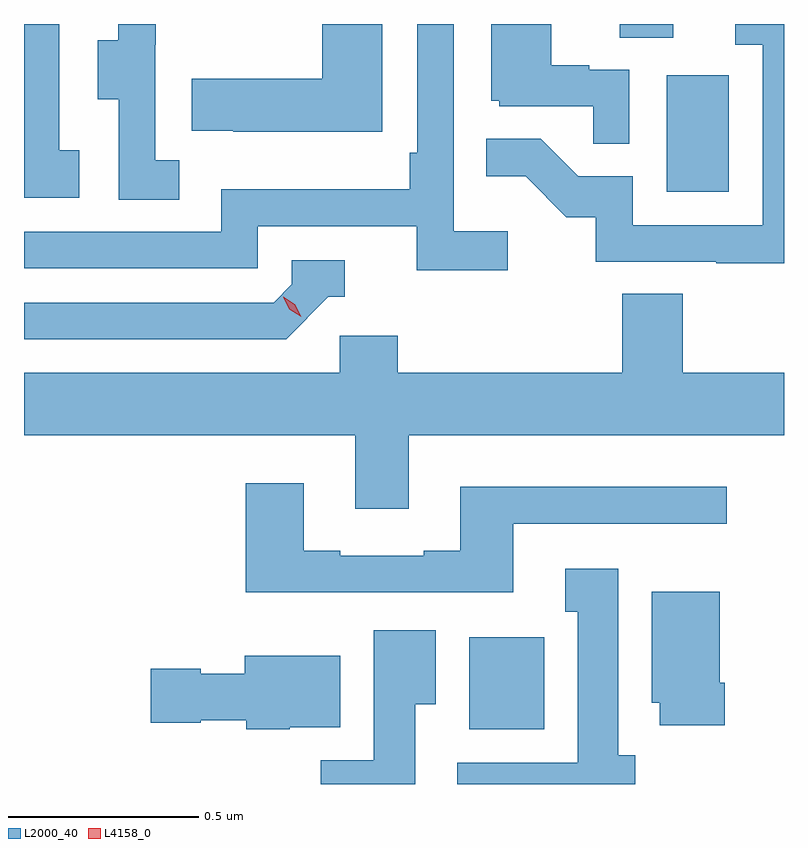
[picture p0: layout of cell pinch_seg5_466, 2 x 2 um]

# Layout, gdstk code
import gdstk
lib = gdstk.Library(unit=1e-6, precision=1e-09)
def R(c, l, rs):  # rectangles x0, y0, x1, y1
    for r in rs: c.add(gdstk.rectangle(r[:2], r[2:], *l))
def P(c, l, *ps):  # polygons
    for p in ps: c.add(gdstk.Polygon(p, *l))
L2000_40 = (2000, 40)
L4158_0 = (4158, 0)

pinch_seg5_466 = lib.new_cell('pinch_seg5_466')
R(pinch_seg5_466, L2000_40, [(930.521,854.654,930.718,854.896), (931.04,856.068,931.204,856.375), (930.917,856.474,931.057,856.51)])
P(pinch_seg5_466, L2000_40, [(929.494,856.178),(929.442,856.178),(929.442,856.51),(929.349,856.51),(929.349,856.053),(929.494,856.053)],
  [(930.942,856.389),(930.836,856.389),(930.836,856.402),(930.736,856.402),(930.736,856.51),(930.578,856.51),(930.578,856.308),(930.6,856.308),(930.6,856.293),(930.847,856.293),(930.847,856.195),(930.942,856.195)],
  [(929.758,856.151),(929.694,856.151),(929.694,856.455),(929.696,856.455),(929.696,856.51),(929.597,856.51),(929.597,856.467),(929.543,856.467),(929.543,856.312),(929.598,856.312),(929.598,856.048),(929.758,856.048)],
  [(930.292,856.51),(930.134,856.51),(930.134,856.366),(929.791,856.366),(929.791,856.229),(929.899,856.229),(929.899,856.226),(930.292,856.226)],
  [(930.622,855.964),(930.48,855.964),(930.48,856.51),(930.384,856.51),(930.384,856.171),(930.364,856.171),(930.364,856.075),(929.868,856.075),(929.868,855.963),(929.349,855.963),(929.349,855.867),(929.964,855.867),(929.964,855.978),(930.383,855.978),(930.383,855.862),(930.622,855.862)],
  [(931.349,856.51),(931.221,856.51),(931.221,856.455),(931.293,856.455),(931.293,855.981),(930.951,855.981),(930.951,856.11),(930.807,856.11),(930.709,856.208),(930.565,856.208),(930.565,856.109),(930.669,856.109),(930.776,856.002),(930.853,856.002),(930.853,855.885),(931.171,855.885),(931.171,855.88),(931.349,855.88)],
  [(930.15,855.792),(930.193,855.792),(930.193,855.888),(930.054,855.888),(930.054,855.825),(930.006,855.777),(929.349,855.777),(929.349,855.681),(930.039,855.681)],
  [(930.361,855.428),(931.349,855.428),(931.349,855.592),(931.083,855.592),(931.083,855.8),(930.923,855.8),(930.923,855.592),(930.332,855.592),(930.332,855.69),(930.18,855.69),(930.18,855.592),(929.349,855.592),(929.349,855.428),(930.221,855.428),(930.221,855.234),(930.361,855.234)],
  [(930.173,855.015),(930.637,855.015),(930.637,855.195),(931.198,855.195),(931.198,855.292),(930.497,855.292),(930.497,855.124),(930.401,855.124),(930.401,855.111),(930.181,855.111),(930.181,855.124),(930.085,855.124),(930.085,855.301),(929.933,855.301),(929.933,855.014),(930.173,855.014)],
  [(930.958,854.586),(930.913,854.586),(930.913,855.076),(930.773,855.076),(930.773,854.963),(930.806,854.963),(930.806,854.566),(930.489,854.566),(930.489,854.51),(930.958,854.51)],
  [(931.193,854.776),(931.18,854.776),(931.18,855.016),(931.001,855.016),(931.001,854.724),(931.022,854.724),(931.022,854.664),(931.193,854.664)],
  [(930.379,854.72),(930.433,854.72),(930.433,854.914),(930.269,854.914),(930.269,854.572),(930.13,854.572),(930.13,854.51),(930.379,854.51)],
  [(930.048,854.66),(930.181,854.66),(930.181,854.848),(929.93,854.848),(929.93,854.8),(929.814,854.8),(929.814,854.813),(929.682,854.813),(929.682,854.671),(929.814,854.671),(929.814,854.678),(929.934,854.678),(929.934,854.654),(930.048,854.654)])
P(pinch_seg5_466, L4158_0, [(930.078,855.739),(930.047,855.759),(930.031,855.792),(930.031,855.792),(930.031,855.792),(930.062,855.772),(930.078,855.74),(930.078,855.739)])

lib.write_gds('pinch_seg5_466.gds')
